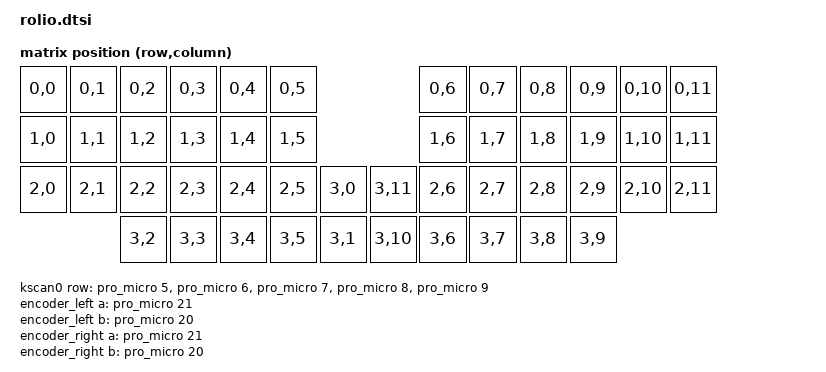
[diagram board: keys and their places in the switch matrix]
/*
 * Copyright (c) 2020 Pete Johanson, Ryan Cross
 *
 * SPDX-License-Identifier: MIT
 */

#include <dt-bindings/zmk/matrix_transform.h>
#include "rolio46-layout.dtsi"

&rolio46_layout {
    kscan = <&kscan0>;
    transform = <&default_transform>;
};


/ {
    chosen {
        zmk,physical-layout = &rolio46_layout;
        zmk,kscan = &kscan0;
        zmk,backlight = &backlight;
    };

    default_transform: keymap_transform_0 {
        compatible = "zmk,matrix-transform";
        columns = <16>;
        rows = <4>;
// | SW_A0 | SW_B0 | SW_C0 | SW_D0 | SW_E0 | SW_F0 |                   | SW_F0 | SW_E0 | SW_D0 | SW_C0 | SW_B0 | SW_A0 |
// | SW_A1 | SW_B1 | SW_C1 | SW_D1 | SW_E1 | SW_F1 |                   | SW_F1 | SW_E1 | SW_D1 | SW_C1 | SW_B1 | SW_A1 |
// | SW_A2 | SW_B2 | SW_C2 | SW_D2 | SW_E2 | SW_F2 | RE_1  |   | RE_1  | SW_F2 | SW_E2 | SW_D2 | SW_C2 | SW_B2 | SW_A2 |
//                 | SW_B4 | SW_B3 | SW_C3 | SW_D3 | SW_E3 |   | SW_E3 | SW_D3 | SW_C3 | SW_B3 | SW_B4 |
        map = <
RC(0,0) RC(0,1) RC(0,2) RC(0,3) RC(0,4) RC(0,5)                    RC(0,6) RC(0,7) RC(0,8) RC(0,9) RC(0,10) RC(0,11)
RC(1,0) RC(1,1) RC(1,2) RC(1,3) RC(1,4) RC(1,5)                    RC(1,6) RC(1,7) RC(1,8) RC(1,9) RC(1,10) RC(1,11)
RC(2,0) RC(2,1) RC(2,2) RC(2,3) RC(2,4) RC(2,5) RC(3,0)   RC(3,11) RC(2,6) RC(2,7) RC(2,8) RC(2,9) RC(2,10) RC(2,11)
                RC(3,2) RC(3,3) RC(3,4) RC(3,5) RC(3,1)   RC(3,10) RC(3,6) RC(3,7) RC(3,8) RC(3,9)
        >;
    };

    kscan0: kscan {
        compatible = "zmk,kscan-gpio-matrix";
        wakeup-source;
        diode-direction = "col2row";
        row-gpios
            = <&pro_micro 5 (GPIO_ACTIVE_HIGH | GPIO_PULL_DOWN)>
            , <&pro_micro 6 (GPIO_ACTIVE_HIGH | GPIO_PULL_DOWN)>
            , <&pro_micro 7 (GPIO_ACTIVE_HIGH | GPIO_PULL_DOWN)>
            , <&pro_micro 8 (GPIO_ACTIVE_HIGH | GPIO_PULL_DOWN)>
            , <&pro_micro 9 (GPIO_ACTIVE_HIGH | GPIO_PULL_DOWN)>
            ;
    };

    encoder_left: encoder_left {
        compatible = "alps,ec11";
        a-gpios = <&pro_micro 21 (GPIO_ACTIVE_HIGH | GPIO_PULL_UP)>;
        b-gpios = <&pro_micro 20 (GPIO_ACTIVE_HIGH | GPIO_PULL_UP)>;
        steps = <60>;
        status = "disabled";
    };

    encoder_right: encoder_right {
        compatible = "alps,ec11";
        a-gpios = <&pro_micro 21 (GPIO_ACTIVE_HIGH | GPIO_PULL_UP)>;
        b-gpios = <&pro_micro 20 (GPIO_ACTIVE_HIGH | GPIO_PULL_UP)>;
        steps = <60>;
        status = "disabled";
    };

    sensors {
        compatible = "zmk,keymap-sensors";
        sensors = <&encoder_left &encoder_right>;
        triggers-per-rotation = <15>;
    };

    backlight: pwmleds {
        compatible = "pwm-leds";
        pwm_led_0 {
            pwms = <&pwm0 0 10000 PWM_POLARITY_NORMAL>;
        };
    };

};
